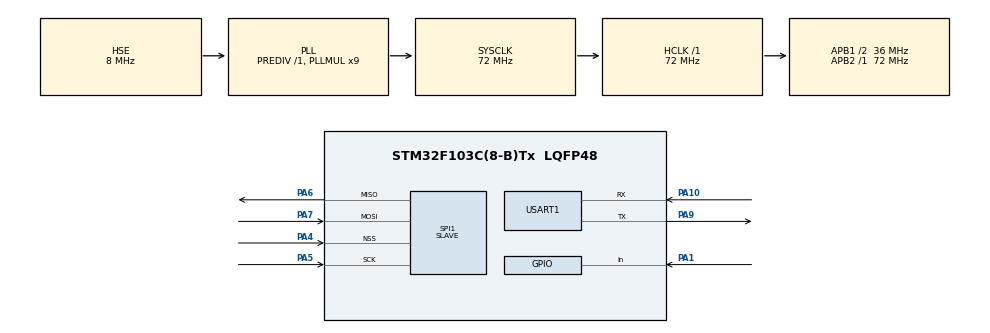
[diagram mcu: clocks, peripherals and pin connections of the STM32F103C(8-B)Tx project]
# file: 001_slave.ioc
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Mcu.Family=STM32F1
Mcu.Name=STM32F103C(8-B)Tx
Mcu.Package=LQFP48
NVIC.PriorityGroup=NVIC_PRIORITYGROUP_4
NVIC.SPI1_IRQn=true\:0\:0\:false\:false\:true\:true\:true\:true
PA1.GPIO_PuPd=GPIO_PULLUP
PA1.Signal=GPIO_Input
PA10.Mode=Asynchronous
PA10.Signal=USART1_RX
PA13.Mode=Serial_Wire
PA13.Signal=SYS_JTMS-SWDIO
PA14.Mode=Serial_Wire
PA14.Signal=SYS_JTCK-SWCLK
PA4.Mode=NSS_Signal_Hard_Input
PA4.Signal=SPI1_NSS
PA5.Mode=Full_Duplex_Slave
PA5.Signal=SPI1_SCK
PA6.Mode=Full_Duplex_Slave
PA6.Signal=SPI1_MISO
PA7.Mode=Full_Duplex_Slave
PA7.Signal=SPI1_MOSI
PA9.Mode=Asynchronous
PA9.Signal=USART1_TX
PD0-OSC_IN.Mode=HSE-External-Oscillator
PD0-OSC_IN.Signal=RCC_OSC_IN
PD1-OSC_OUT.Mode=HSE-External-Oscillator
PD1-OSC_OUT.Signal=RCC_OSC_OUT
ProjectManager.HeapSize=0x200
ProjectManager.StackSize=0x400
ProjectManager.TargetToolchain=MDK-ARM V5.32
RCC.AHBFreq_Value=72000000
RCC.APB1CLKDivider=RCC_HCLK_DIV2
RCC.APB1Freq_Value=36000000
RCC.APB1TimFreq_Value=72000000
RCC.APB2Freq_Value=72000000
RCC.APB2TimFreq_Value=72000000
RCC.HCLKFreq_Value=72000000
RCC.PLLMUL=RCC_PLL_MUL9
RCC.PLLSourceVirtual=RCC_PLLSOURCE_HSE
RCC.SYSCLKFreq_VALUE=72000000
RCC.SYSCLKSource=RCC_SYSCLKSOURCE_PLLCLK
RCC.USBFreq_Value=72000000
SPI1.Direction=SPI_DIRECTION_2LINES
SPI1.Mode=SPI_MODE_SLAVE
SPI1.VirtualNSS=VM_NSSHARD
SPI1.VirtualType=VM_SLAVE
USART1.VirtualMode=VM_ASYNC
board=custom

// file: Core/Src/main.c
/* USER CODE BEGIN Header */
/**
  ******************************************************************************
  * @file           : main.c
  * @brief          : Main program body
  ******************************************************************************
  * @attention
  *
  * Copyright (c) 2026 STMicroelectronics.
  * All rights reserved.
  *
  * This software is licensed under terms that can be found in the LICENSE file
  * in the root directory of this software component.
  * If no LICENSE file comes with this software, it is provided AS-IS.
  *
  ******************************************************************************
  */
/* USER CODE END Header */
#include "main.h"

/* USER CODE BEGIN Includes */
#include <string.h>
#include <stdio.h>
#include "Flash.h"
/* USER CODE END Includes */

SPI_HandleTypeDef hspi1;

UART_HandleTypeDef huart1;

/* USER CODE BEGIN PV */
uint8_t spi_rx;
char line_buf[256];
uint16_t idx = 0;

uint32_t extended_addr = 0;
uint8_t erase_done = 0;

/* Flash address config */
#define APP_ADDRESS 0x0800C800
#define FLASH_END   0x08010000
/* USER CODE END PV */

void SystemClock_Config(void);
static void MX_GPIO_Init(void);
static void MX_SPI1_Init(void);
static void MX_USART1_UART_Init(void);

/* USER CODE BEGIN 0 */
/* ================= UART DEBUG ================= */
void uart_print(char *str)
{
    HAL_UART_Transmit(&huart1, (uint8_t*)str, strlen(str), HAL_MAX_DELAY);
}

/* ================= SPI ACK ================= */
void send_ack(void)
{
    uint8_t ack = 0x06;
    HAL_SPI_Transmit(&hspi1, &ack, 1, 100);
}

void send_nack(void)
{
    uint8_t nack = 0x15;
    HAL_SPI_Transmit(&hspi1, &nack, 1, 100);
}

void send_stop(void)
{
    uint8_t stop = 0xEE;
    HAL_SPI_Transmit(&hspi1, &stop, 1, 100);
}

/* ================= HEX PARSER ================= */
typedef struct {
    uint8_t length;
    uint16_t address;
    uint8_t type;
    uint8_t data[256];
} HexRecord_t;

uint8_t hex_to_byte(char h, char l)
{
    uint8_t hi = (h >= 'A') ? (h - 'A' + 10) : (h - '0');
    uint8_t lo = (l >= 'A') ? (l - 'A' + 10) : (l - '0');
    return (hi << 4) | lo;
}

uint8_t Hex_ParseLine(char *line, HexRecord_t *rec)
{
    if (line[0] != ':') return 0;

    rec->length  = hex_to_byte(line[1], line[2]);
    rec->address = (hex_to_byte(line[3], line[4]) << 8) |
                    hex_to_byte(line[5], line[6]);
    rec->type    = hex_to_byte(line[7], line[8]);

    for (int i = 0; i < rec->length; i++)
    {
        rec->data[i] = hex_to_byte(line[9 + i*2], line[10 + i*2]);
    }

    return 1;
}

#define ADDR_APP_PROGRAM 0x800C800
#define DATA_TYPE 					0x00
#define EXTENDED_ADDR 			0x04
#define	EOF_TYPE						0x01
typedef void (*pFunction)(void);

void enter_to_application()
{
	uart_print("Enter App\r\n");
    HAL_RCC_DeInit();
    HAL_DeInit();

    SCB->SHCSR &= ~(SCB_SHCSR_USGFAULTENA_Msk |
                    SCB_SHCSR_BUSFAULTENA_Msk |
                    SCB_SHCSR_MEMFAULTENA_Msk);

    __set_MSP(*(__IO uint32_t *)ADDR_APP_PROGRAM);

    pFunction app_entry = (pFunction)(*(__IO uint32_t *)(ADDR_APP_PROGRAM + 4));
    app_entry();
}

/* ================= PROCESS HEX ================= */
uint8_t check_done = 0 ;
void process_hex_line(char *line)
{
    HexRecord_t rec;

    if (!Hex_ParseLine(line, &rec))
    {
        send_nack();
        return;
    }

    /* DATA */
    if (rec.type == DATA_TYPE )
    {
        uint32_t real_addr = extended_addr | rec.address;

        if (real_addr >= APP_ADDRESS && real_addr < FLASH_END)
        {
            if (!erase_done)
            {
                Flash_Erase();
                erase_done = 1;
            }

            Flash_Write(real_addr, rec.data, rec.length);
        }

        send_ack();
    }

    /* EXTENDED ADDRESS */
    else if (rec.type == EXTENDED_ADDR)
    {
        extended_addr = ((uint32_t)(rec.data[0] << 8 | rec.data[1])) << 16;

        send_ack();
    }

    /* EOF */
    else if (rec.type == EOF_TYPE)
    {
        send_stop();
        uart_print("EOF -> JUMP APP\r\n");
				check_done = 1;

    }
}

/* ================= BYTE COLLECT ================= */
void process_byte(uint8_t b)
{
    if (b == '\n')
    {
        line_buf[idx] = '\0';

        uart_print("RX: ");
        uart_print(line_buf);
        uart_print("\r\n");

        if (line_buf[0] == ':')
        {
            process_hex_line(line_buf);
        }
        else
        {
            send_nack();
        }

        idx = 0;
    }
    else
    {
        if (idx < sizeof(line_buf) - 1)
            line_buf[idx++] = b;
        else
        {
            idx = 0;
            send_nack();
        }
    }
}

/* ================= SPI CALLBACK ================= */
void HAL_SPI_RxCpltCallback(SPI_HandleTypeDef *hspi)
{
    if (hspi->Instance == SPI1)
    {
        process_byte(spi_rx);
        HAL_SPI_Receive_IT(&hspi1, &spi_rx, 1);
    }
}

/* USER CODE END 0 */

int main(void)
{

  /* MCU Configuration--------------------------------------------------------*/

  /* Reset of all peripherals, Initializes the Flash interface and the Systick. */
  HAL_Init();

  /* Configure the system clock */
  SystemClock_Config();

  /* Initialize all configured peripherals */
  MX_GPIO_Init();

  MX_SPI1_Init();
  MX_USART1_UART_Init();
  /* USER CODE BEGIN 2 */

HAL_SPI_Receive_IT(&hspi1, &spi_rx, 1);
uart_print("STM32 READY\r\n");

  /* USER CODE END 2 */

  /* Infinite loop */
  /* USER CODE BEGIN WHILE */
  while (1)
  {
//	/* USER CODE END WHILE */

		if(check_done)
		{
			enter_to_application();
		}
  }
}

void SystemClock_Config(void)
{
  RCC_OscInitTypeDef RCC_OscInitStruct = {0};
  RCC_ClkInitTypeDef RCC_ClkInitStruct = {0};

  /** Initializes the RCC Oscillators according to the specified parameters
  * in the RCC_OscInitTypeDef structure.
  */
  RCC_OscInitStruct.OscillatorType = RCC_OSCILLATORTYPE_HSE;
  RCC_OscInitStruct.HSEState = RCC_HSE_ON;
  RCC_OscInitStruct.HSEPredivValue = RCC_HSE_PREDIV_DIV1;
  RCC_OscInitStruct.HSIState = RCC_HSI_ON;
  RCC_OscInitStruct.PLL.PLLState = RCC_PLL_ON;
  RCC_OscInitStruct.PLL.PLLSource = RCC_PLLSOURCE_HSE;
  RCC_OscInitStruct.PLL.PLLMUL = RCC_PLL_MUL9;
  if (HAL_RCC_OscConfig(&RCC_OscInitStruct) != HAL_OK)
  {
    Error_Handler();
  }

  /** Initializes the CPU, AHB and APB buses clocks
  */
  RCC_ClkInitStruct.ClockType = RCC_CLOCKTYPE_HCLK|RCC_CLOCKTYPE_SYSCLK
                              |RCC_CLOCKTYPE_PCLK1|RCC_CLOCKTYPE_PCLK2;
  RCC_ClkInitStruct.SYSCLKSource = RCC_SYSCLKSOURCE_PLLCLK;
  RCC_ClkInitStruct.AHBCLKDivider = RCC_SYSCLK_DIV1;
  RCC_ClkInitStruct.APB1CLKDivider = RCC_HCLK_DIV2;
  RCC_ClkInitStruct.APB2CLKDivider = RCC_HCLK_DIV1;

  if (HAL_RCC_ClockConfig(&RCC_ClkInitStruct, FLASH_LATENCY_2) != HAL_OK)
  {
    Error_Handler();
  }
}

static void MX_SPI1_Init(void)
{

  /* SPI1 parameter configuration*/
  hspi1.Instance = SPI1;
  hspi1.Init.Mode = SPI_MODE_SLAVE;
  hspi1.Init.Direction = SPI_DIRECTION_2LINES;
  hspi1.Init.DataSize = SPI_DATASIZE_8BIT;
  hspi1.Init.CLKPolarity = SPI_POLARITY_LOW;
  hspi1.Init.CLKPhase = SPI_PHASE_1EDGE;
  hspi1.Init.NSS = SPI_NSS_HARD_INPUT;
  hspi1.Init.FirstBit = SPI_FIRSTBIT_MSB;
  hspi1.Init.TIMode = SPI_TIMODE_DISABLE;
  hspi1.Init.CRCCalculation = SPI_CRCCALCULATION_DISABLE;
  hspi1.Init.CRCPolynomial = 10;
  if (HAL_SPI_Init(&hspi1) != HAL_OK)
  {
    Error_Handler();
  }

}

static void MX_USART1_UART_Init(void)
{

  huart1.Instance = USART1;
  huart1.Init.BaudRate = 115200;
  huart1.Init.WordLength = UART_WORDLENGTH_8B;
  huart1.Init.StopBits = UART_STOPBITS_1;
  huart1.Init.Parity = UART_PARITY_NONE;
  huart1.Init.Mode = UART_MODE_TX_RX;
  huart1.Init.HwFlowCtl = UART_HWCONTROL_NONE;
  huart1.Init.OverSampling = UART_OVERSAMPLING_16;
  if (HAL_UART_Init(&huart1) != HAL_OK)
  {
    Error_Handler();
  }

}

static void MX_GPIO_Init(void)
{

  /* GPIO Ports Clock Enable */
  __HAL_RCC_GPIOD_CLK_ENABLE();
  __HAL_RCC_GPIOA_CLK_ENABLE();

}

void Error_Handler(void)
{
  __disable_irq();
  while (1)
  {
  }
}
